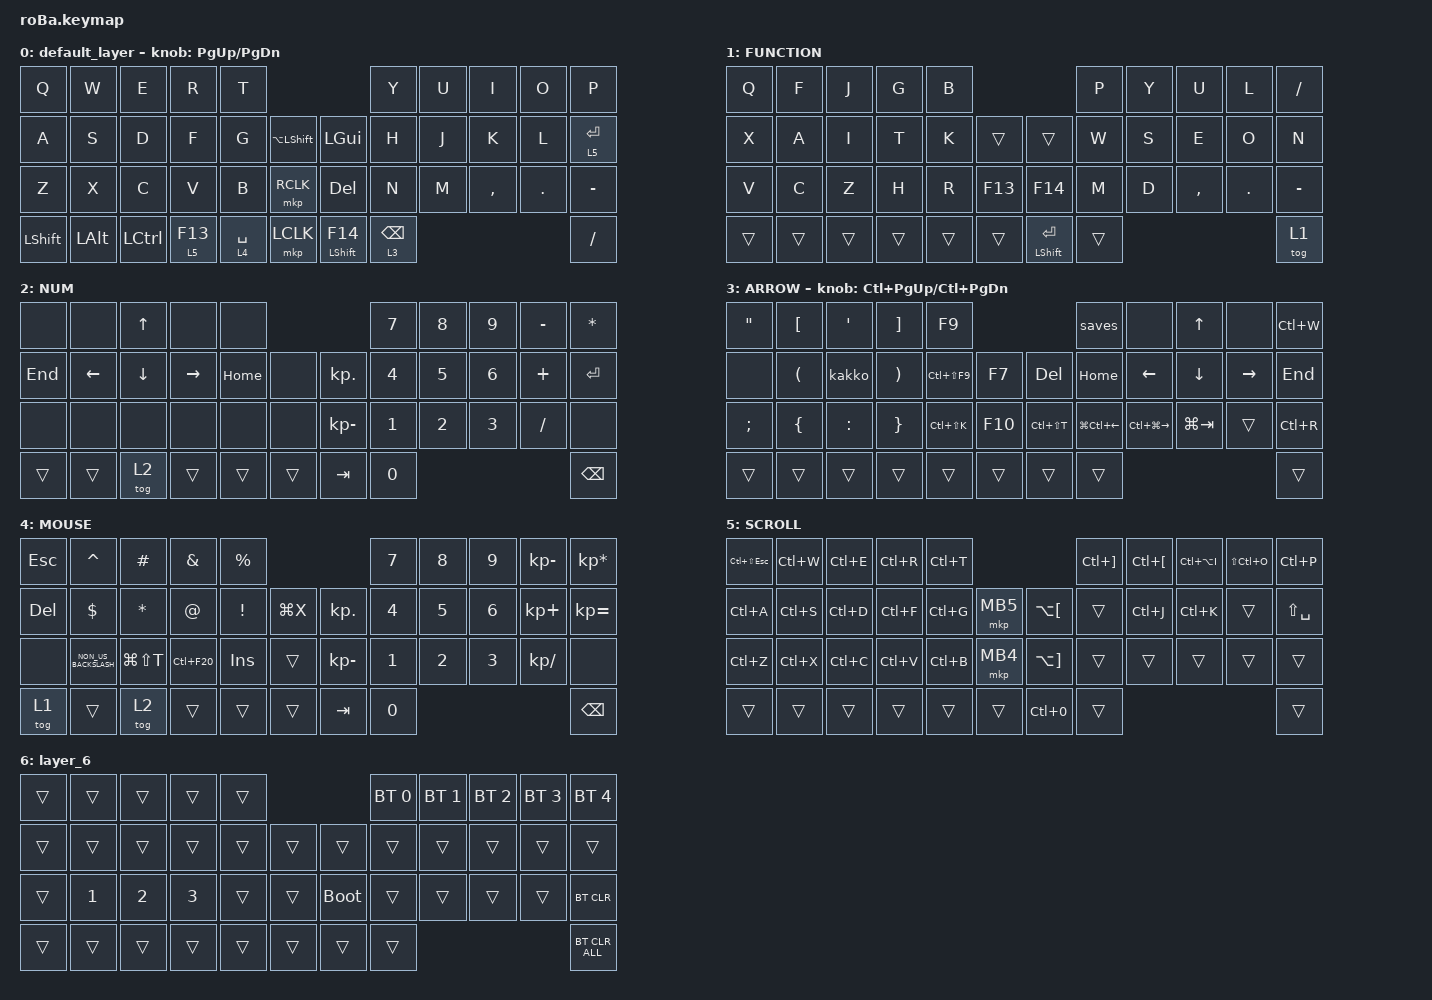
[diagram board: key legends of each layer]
#include <behaviors.dtsi>
#include <dt-bindings/zmk/bt.h>
#include <dt-bindings/zmk/keys.h>
#include <dt-bindings/zmk/pointing.h>

&trackball {
    // automouse-layer = <4>;

    scroll-layers = <5>;

    // arrows {
    //     layers = <3>;
    //     bindings =
    //         <&kp RIGHT_ARROW>,
    //         <&kp LEFT_ARROW>,
    //         <&kp UP_ARROW>,
    //         <&kp DOWN_ARROW>;
    //     tick = <10>;
    //     wait-ms = <5>;
    //     tap-ms = <5>;
    // };
};

/ {
    combos {
        compatible = "zmk,combos";

        double_quotation {
            bindings = <&kp DOUBLE_QUOTES>;
            key-positions = <20 21>;
        };

        hikidashi {
            bindings = <&move_corsor>;
            key-positions = <37 13>;
            slow-release;
        };

        Rclick {
            bindings = <&mkp RCLK>;
            key-positions = <37 25>;
        };

        browseback {
            bindings = <&mkp MB4>;
            key-positions = <13 12>;
            slow-release;
        };

        browseforwed {
            bindings = <&mkp MB5>;
            key-positions = <18 19>;
            slow-release;
        };
    };

    macros {
        to_layer_0: to_layer_0 {
            compatible = "zmk,behavior-macro-one-param";
            #binding-cells = <1>;
            bindings = <&to 0 &macro_param_1to1 &kp MACRO_PLACEHOLDER>;
            label = "TO_LAYER_0";
        };

        kakko: kakko {
            compatible = "zmk,behavior-macro";
            #binding-cells = <0>;
            bindings = <&kp LEFT_PARENTHESIS &kp RIGHT_PARENTHESIS &kp LEFT_ARROW>;
            label = "KAKKO";
        };

        saves: saves {
            compatible = "zmk,behavior-macro";
            #binding-cells = <0>;
            bindings = <&kp LS(N) &kp E &kp N5 &kp O &kp N2 &kp L &kp N4 &kp D>;
            label = "SAVES";
        };

        move_corsor: move_corsor {
            compatible = "zmk,behavior-macro";
            #binding-cells = <0>;
            bindings = <&kp LA(LC(M))>;
            label = "MOVE_CORSOR";
        };
    };

    behaviors {
        lt_to_layer_0: lt_to_layer_0 {
            compatible = "zmk,behavior-hold-tap";
            label = "LAYER_TAP_TO_0";
            bindings = <&mo>, <&to_layer_0>;

            #binding-cells = <2>;
            tapping-term-ms = <200>;
        };

        mouseP: mouseP {
            compatible = "zmk,behavior-input-two-axis";
            label = "MOUSEP";
            #binding-cells = <1>;
            x-input-code = <1063>;
            y-input-code = <1439>;
            time-to-max-speed-ms = <0>;
        };

        mouseG: mouseG {
            compatible = "zmk,behavior-input-two-axis";
            label = "MOUSEG";
            #binding-cells = <1>;
            x-input-code = <823>;
            y-input-code = <962>;
            time-to-max-speed-ms = <0>;
        };
    };

    keymap {
        compatible = "zmk,keymap";

        default_layer {
            bindings = <
&kp Q           &kp W         &kp E             &kp R      &kp T                                                    &kp Y            &kp U  &kp I      &kp O    &kp P
&kp A           &kp S         &kp D             &kp F      &kp G        &kp LA(LEFT_SHIFT)      &kp LEFT_GUI        &kp H            &kp J  &kp K      &kp L    &lt 5 ENTER
&kp Z           &kp X         &kp C             &kp V      &kp B        &mkp RCLK               &kp DEL             &kp N            &kp M  &kp COMMA  &kp DOT  &kp MINUS
&kp LEFT_SHIFT  &kp LEFT_ALT  &kp LEFT_CONTROL  &lt 5 F13  &lt 4 SPACE  &mkp LCLK               &mt LEFT_SHIFT F14  &lt 3 BACKSPACE                             &kp SLASH
            >;

            sensor-bindings = <&inc_dec_kp PG_UP PAGE_DOWN>;
        };

        FUNCTION {
            bindings = <
&kp Q   &kp F   &kp J   &kp G   &kp B                                      &kp P   &kp Y  &kp U      &kp L    &kp SLASH
&kp X   &kp A   &kp I   &kp T   &kp K   &trans       &trans                &kp W   &kp S  &kp E      &kp O    &kp N
&kp V   &kp C   &kp Z   &kp H   &kp R   &kp F13      &kp F14               &kp M   &kp D  &kp COMMA  &kp DOT  &kp MINUS
&trans  &trans  &trans  &trans  &trans  &trans       &mt LEFT_SHIFT ENTER  &trans                             &tog 1
            >;
        };

        NUM {
            bindings = <
&none    &none           &kp UP_ARROW    &none            &none                               &kp NUMBER_7  &kp NUMBER_8  &kp NUMBER_9  &kp MINUS  &kp STAR
&kp END  &kp LEFT_ARROW  &kp DOWN_ARROW  &kp RIGHT_ARROW  &kp HOME  &none       &kp KP_DOT    &kp NUMBER_4  &kp NUMBER_5  &kp NUMBER_6  &kp PLUS   &kp ENTER
&none    &none           &none           &none            &none     &none       &kp KP_MINUS  &kp NUMBER_1  &kp NUMBER_2  &kp NUMBER_3  &kp SLASH  &none
&trans   &trans          &tog 2          &trans           &trans    &trans      &kp TAB       &kp NUMBER_0                                         &kp BACKSPACE
            >;
        };

        ARROW {
            bindings = <
&kp DOUBLE_QUOTES  &kp LEFT_BRACKET      &kp SQT    &kp RIGHT_BRACKET      &kp F9                                      &saves                  &none                    &kp UP_ARROW    &none            &kp LC(W)
&none              &kp LEFT_PARENTHESIS  &kakko     &kp RIGHT_PARENTHESIS  &kp LC(LS(F9))  &kp F7       &kp DEL        &kp HOME                &kp LEFT_ARROW           &kp DOWN_ARROW  &kp RIGHT_ARROW  &kp END
&kp SEMI           &kp LBRC              &kp COLON  &kp RIGHT_BRACE        &kp LC(LS(K))   &kp F10      &kp LC(LS(T))  &kp LG(LC(LEFT_ARROW))  &kp LC(LG(RIGHT_ARROW))  &kp LG(TAB)     &trans           &kp LC(R)
&trans             &trans                &trans     &trans                 &trans          &trans       &trans         &trans                                                                            &trans
            >;

            sensor-bindings = <&inc_dec_kp LC(PAGE_UP) LC(PAGE_DOWN)>;
        };

        MOUSE {
            bindings = <
&kp ESC     &kp CARET             &kp HASH       &kp AMPERSAND  &kp PERCENT                                   &kp N7  &kp N8  &kp N9  &kp KP_MINUS  &kp KP_ASTERISK
&kp DELETE  &kp DOLLAR            &kp ASTERISK   &kp AT_SIGN    &kp EXCLAMATION  &kp LG(X)      &kp KP_DOT    &kp N4  &kp N5  &kp N6  &kp KP_PLUS   &kp KP_EQUAL
&none       &kp NON_US_BACKSLASH  &kp LG(LS(T))  &kp LC(F20)    &kp INS          &trans         &kp KP_MINUS  &kp N1  &kp N2  &kp N3  &kp KP_SLASH  &none
&tog 1      &trans                &tog 2         &trans         &trans           &trans         &kp TAB       &kp N0                                &kp BSPC
            >;
        };

        SCROLL {
            bindings = <
&kp LC(LS(ESCAPE))  &kp LC(W)  &kp LC(E)  &kp LC(R)  &kp LC(T)                                       &kp LC(RIGHT_BRACKET)  &kp LC(LEFT_BRACKET)  &kp LC(LA(I))  &kp LS(LC(O))  &kp LC(P)
&kp LC(A)           &kp LC(S)  &kp LC(D)  &kp LC(F)  &kp LC(G)  &mkp MB5      &kp LA(LEFT_BRACKET)   &trans                 &kp LC(J)             &kp LC(K)      &trans         &kp LS(SPACE)
&kp LC(Z)           &kp LC(X)  &kp LC(C)  &kp LC(V)  &kp LC(B)  &mkp MB4      &kp LA(RIGHT_BRACKET)  &trans                 &trans                &trans         &trans         &trans
&trans              &trans     &trans     &trans     &trans     &trans        &kp LC(N0)             &trans                                                                     &trans
            >;
        };

        layer_6 {
            bindings = <
&trans  &trans        &trans        &trans        &trans                           &bt BT_SEL 0  &bt BT_SEL 1  &bt BT_SEL 2  &bt BT_SEL 3  &bt BT_SEL 4
&trans  &trans        &trans        &trans        &trans  &trans      &trans       &trans        &trans        &trans        &trans        &trans
&trans  &kp NUMBER_1  &kp NUMBER_2  &kp NUMBER_3  &trans  &trans      &bootloader  &trans        &trans        &trans        &trans        &bt BT_CLR
&trans  &trans        &trans        &trans        &trans  &trans      &trans       &trans                                                  &bt BT_CLR_ALL
            >;
        };
    };
};
